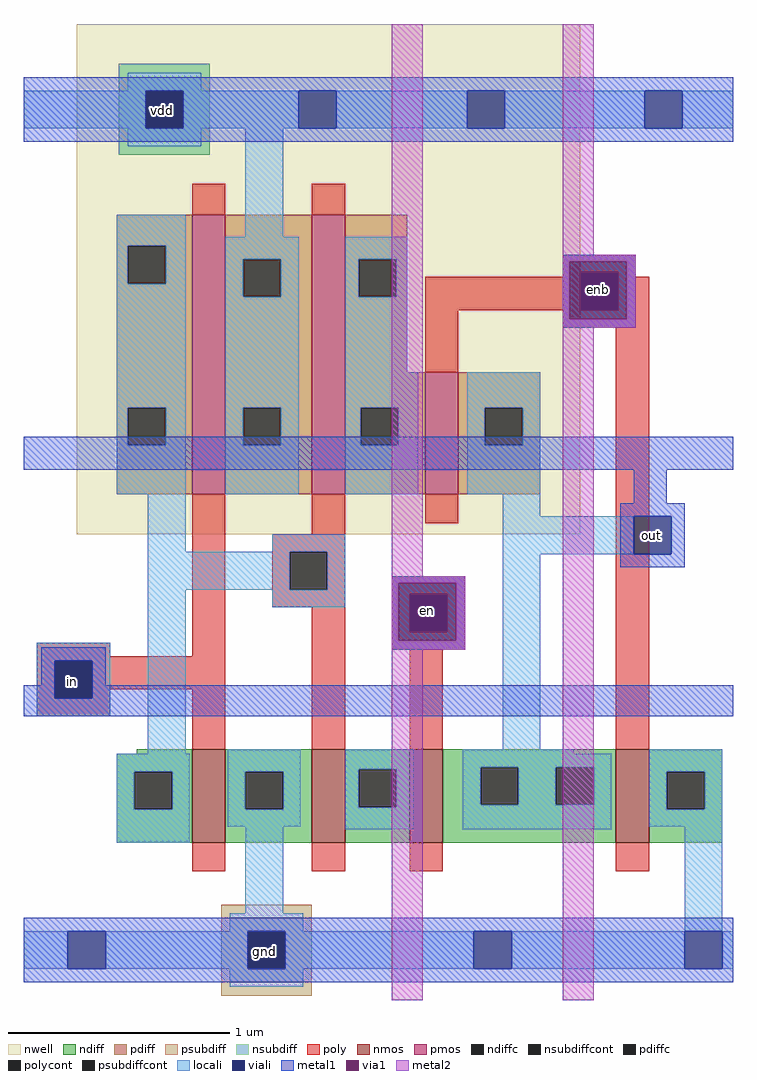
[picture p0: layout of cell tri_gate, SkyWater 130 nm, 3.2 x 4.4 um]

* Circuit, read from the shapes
.subckt tri_gate vdd gnd in out en enb
XM1 gnd in n1 gnd sky130_fd_pr__nfet_01v8 w=0.42 l=0.15
XM2 n2 n1 gnd gnd sky130_fd_pr__nfet_01v8 w=0.42 l=0.15
XM3 out en n2 gnd sky130_fd_pr__nfet_01v8 w=0.42 l=0.15
XM4 gnd enb out gnd sky130_fd_pr__nfet_01v8 w=0.42 l=0.15
XM5 vdd in n1 vdd sky130_fd_pr__pfet_01v8 w=1.26 l=0.15
XM6 n3 n1 vdd vdd sky130_fd_pr__pfet_01v8 w=1.26 l=0.15
XM7 out enb n3 vdd sky130_fd_pr__pfet_01v8 w=0.55 l=0.15
.ends

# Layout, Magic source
magic
tech sky130A
<< nwell >>
rect 24 188 251 418
<< nmos >>
rect 76 49 91 91
rect 130 49 145 91
rect 174 49 189 91
rect 267 49 282 91
<< pmos >>
rect 76 206 91 332
rect 130 206 145 332
rect 181 206 196 261
<< ndiff >>
rect 51 89 76 91
rect 42 81 76 89
rect 42 64 50 81
rect 67 64 76 81
rect 42 49 76 64
rect 91 81 130 91
rect 91 64 100 81
rect 117 64 130 81
rect 91 49 130 64
rect 145 82 174 91
rect 145 65 151 82
rect 168 65 174 82
rect 145 49 174 65
rect 189 83 267 91
rect 189 66 206 83
rect 223 66 240 83
rect 257 66 267 83
rect 189 49 267 66
rect 282 81 315 91
rect 282 64 290 81
rect 307 64 315 81
rect 282 49 315 64
<< pdiff >>
rect 42 318 76 332
rect 42 301 47 318
rect 64 301 76 318
rect 42 245 76 301
rect 42 228 47 245
rect 64 228 76 245
rect 42 206 76 228
rect 91 312 130 332
rect 91 295 99 312
rect 116 295 130 312
rect 91 245 130 295
rect 91 228 99 245
rect 116 228 130 245
rect 91 206 130 228
rect 145 312 173 332
rect 145 295 151 312
rect 168 295 173 312
rect 145 261 173 295
rect 145 245 181 261
rect 145 228 152 245
rect 169 228 181 245
rect 145 206 181 228
rect 196 245 233 261
rect 196 228 208 245
rect 225 228 233 245
rect 196 206 233 228
<< ndiffc >>
rect 50 64 67 81
rect 100 64 117 81
rect 151 65 168 82
rect 206 66 223 83
rect 240 66 257 83
rect 290 64 307 81
<< pdiffc >>
rect 47 301 64 318
rect 47 228 64 245
rect 99 295 116 312
rect 99 228 116 245
rect 151 295 168 312
rect 152 228 169 245
rect 208 228 225 245
<< psubdiff >>
rect 89 9 130 21
rect 89 -8 101 9
rect 118 -8 130 9
rect 89 -20 130 -8
<< nsubdiff >>
rect 43 388 84 400
rect 43 371 55 388
rect 72 371 84 388
rect 43 359 84 371
<< psubdiffcont >>
rect 101 -8 118 9
<< nsubdiffcont >>
rect 55 371 72 388
<< poly >>
rect 76 332 91 346
rect 130 332 145 346
rect 243 306 276 314
rect 243 304 251 306
rect 181 289 251 304
rect 268 304 276 306
rect 268 289 282 304
rect 181 261 196 289
rect 243 281 282 289
rect 6 133 39 139
rect 76 133 91 206
rect 130 188 145 206
rect 181 193 196 206
rect 112 180 145 188
rect 112 163 120 180
rect 137 163 145 180
rect 112 155 145 163
rect 6 131 91 133
rect 6 114 14 131
rect 31 118 91 131
rect 31 114 39 118
rect 6 106 39 114
rect 76 91 91 118
rect 130 91 145 155
rect 166 161 199 169
rect 166 144 174 161
rect 191 144 199 161
rect 166 136 199 144
rect 174 91 189 136
rect 267 91 282 281
rect 76 36 91 49
rect 130 36 145 49
rect 174 36 189 49
rect 267 36 282 49
<< polycont >>
rect 251 289 268 306
rect 120 163 137 180
rect 14 114 31 131
rect 174 144 191 161
<< locali >>
rect 47 388 80 396
rect 0 371 55 388
rect 72 371 124 388
rect 141 371 200 388
rect 217 371 280 388
rect 297 371 320 388
rect 47 363 80 371
rect 42 318 73 332
rect 100 322 117 371
rect 42 301 47 318
rect 64 301 73 318
rect 42 245 73 301
rect 42 228 47 245
rect 64 228 73 245
rect 42 206 73 228
rect 91 312 124 322
rect 91 295 99 312
rect 116 295 124 312
rect 91 245 124 295
rect 91 228 99 245
rect 116 228 124 245
rect 91 206 124 228
rect 145 312 173 322
rect 145 295 151 312
rect 168 295 173 312
rect 145 261 173 295
rect 243 306 276 314
rect 243 289 251 306
rect 268 289 276 306
rect 243 281 276 289
rect 145 245 178 261
rect 145 228 152 245
rect 169 228 178 245
rect 145 206 178 228
rect 200 245 233 261
rect 200 228 208 245
rect 225 228 233 245
rect 200 206 233 228
rect 56 180 73 206
rect 216 196 233 206
rect 112 180 145 188
rect 56 163 120 180
rect 137 163 145 180
rect 216 179 275 196
rect 6 131 39 139
rect 6 114 14 131
rect 31 114 39 131
rect 6 106 39 114
rect 56 89 73 163
rect 112 155 145 163
rect 166 161 199 169
rect 166 144 174 161
rect 191 144 199 161
rect 166 136 199 144
rect 216 91 233 179
rect 42 81 75 89
rect 42 64 50 81
rect 67 64 75 81
rect 42 49 75 64
rect 92 81 125 91
rect 92 64 100 81
rect 117 64 125 81
rect 92 56 125 64
rect 145 82 176 91
rect 145 65 151 82
rect 168 65 176 82
rect 100 17 117 56
rect 145 55 176 65
rect 198 89 248 91
rect 198 83 265 89
rect 198 66 206 83
rect 223 66 240 83
rect 257 66 265 83
rect 198 55 265 66
rect 282 81 315 91
rect 282 64 290 81
rect 307 64 315 81
rect 282 56 315 64
rect 93 9 126 17
rect 298 9 315 56
rect 0 -8 20 9
rect 37 -8 101 9
rect 118 -8 203 9
rect 220 -8 298 9
rect 315 -8 320 9
rect 93 -16 126 -8
<< viali >>
rect 55 371 72 388
rect 124 371 141 388
rect 200 371 217 388
rect 280 371 297 388
rect 251 289 268 306
rect 275 179 292 196
rect 14 114 31 131
rect 174 144 191 161
rect 20 -8 37 9
rect 101 -8 118 9
rect 203 -8 220 9
rect 298 -8 315 9
<< metal1 >>
rect 0 388 320 394
rect 0 371 55 388
rect 72 371 124 388
rect 141 371 200 388
rect 217 371 280 388
rect 297 371 320 388
rect 0 365 320 371
rect 243 311 276 314
rect 243 285 246 311
rect 272 285 276 311
rect 243 281 276 285
rect 0 217 320 232
rect 275 202 290 217
rect 269 196 298 202
rect 269 179 275 196
rect 292 179 298 196
rect 269 173 298 179
rect 166 166 199 169
rect 166 140 169 166
rect 195 140 199 166
rect 8 131 37 137
rect 166 136 199 140
rect 8 120 14 131
rect 0 114 14 120
rect 31 120 37 131
rect 31 114 320 120
rect 0 106 320 114
rect 0 9 320 15
rect 0 -8 20 9
rect 37 -8 101 9
rect 118 -8 203 9
rect 220 -8 298 9
rect 315 -8 320 9
rect 0 -14 320 -8
<< via1 >>
rect 246 306 272 311
rect 246 289 251 306
rect 251 289 268 306
rect 268 289 272 306
rect 246 285 272 289
rect 169 161 195 166
rect 169 144 174 161
rect 174 144 191 161
rect 191 144 195 161
rect 169 140 195 144
<< metal2 >>
rect 166 169 180 418
rect 243 314 257 418
rect 243 311 276 314
rect 243 285 246 311
rect 272 285 276 311
rect 243 281 276 285
rect 166 166 199 169
rect 166 140 169 166
rect 195 140 199 166
rect 166 136 199 140
rect 166 -22 180 136
rect 243 -22 257 281
<< labels >>
flabel metal1 s 56 373 69 385 0 FreeSans 200 0 0 0 vdd
port 0 nsew
flabel metal1 s 102 -6 115 6 0 FreeSans 200 0 0 0 gnd
port 2 nsew
flabel metal1 s 278 183 288 192 0 FreeSans 200 0 0 0 out
port 6 nsew
flabel metal2 s 177 149 187 158 0 FreeSans 200 0 0 0 en
port 8 nsew
flabel metal2 s 254 294 264 303 0 FreeSans 200 0 0 0 enb
port 10 nsew
flabel metal1 s 15 115 29 128 0 FreeSans 200 0 0 0 in
port 4 nsew
<< properties >>
string FIXED_BBOX 0 0 320 380
<< end >>
